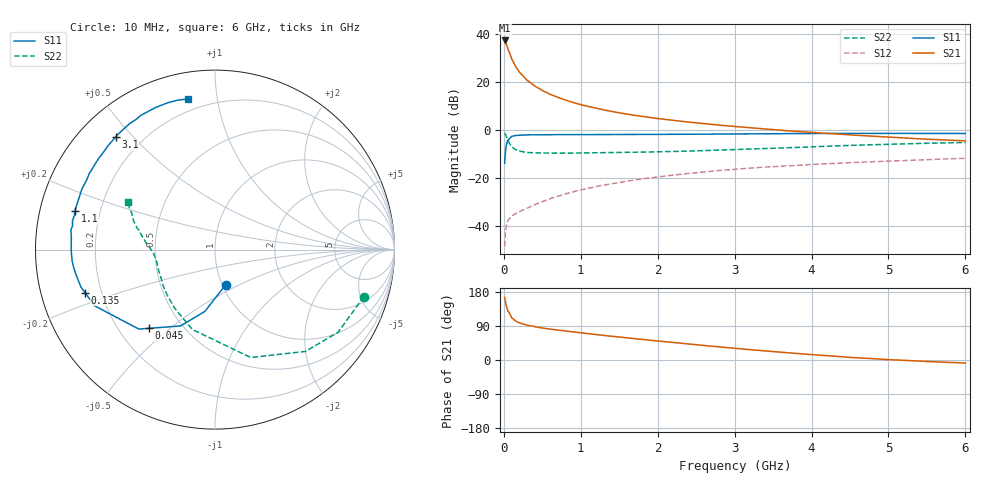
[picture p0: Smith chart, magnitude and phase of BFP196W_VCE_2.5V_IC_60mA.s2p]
! Infineon Technologies  Discrete & RF Semiconductors
! BFP196W
! VCE = 2.5 V,  IC =  60mA
! Common Emitter S-Parameters:  Jan 2016
# GHz  S  MA  R  50
!  f  S11  S21  S12  S22
! GHz  MAG  ANG  MAG  ANG  MAG  ANG  MAG  ANG
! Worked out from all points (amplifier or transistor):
!   210 points, 10 MHz to 6 GHz, reference 50 ohm
!   highest |S21| = 37.4 dB at 10 MHz (marker M1)
!   |S21| within 3 dB of that: start of sweep to 47.01 MHz
!   unconditionally stable (mu >= 1): 525.7 MHz to 3.394 GHz
!   at 185 MHz: K = 0.62, MSG = 29.7 dB, |S12| = -34.3 dB
!   at 1.52 GHz: K = 1.11, MAG = 12.4 dB, |S12| = -21.7 dB
!   at 6 GHz: K = 0.97, MSG = 3.6 dB, |S12| = -11.7 dB
!   S11 on the Smith chart (normalised r, x): 10 MHz: 1.04, -0.42; 45 MHz: 0.33, -0.43; 135 MHz: 0.14, -0.16; 1.1 GHz: 0.11, +0.13; 3.1 GHz: 0.11, +0.45; 6 GHz: 0.13, +0.83
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0.01  0.2037 -72.7  74.48 165.6  0.0038 74.9  0.8701 -17.5
0.02  0.3482 -99.2  70.72 154.9  0.0072 67.3  0.826 -33.9
0.03  0.4668 -114.3  64.27 144.9  0.0096 61.9  0.7586 -48.4
0.045  0.5715 -129.9  53.92 134.3  0.012 51.7  0.6534 -65.1
0.05  0.6135 -133.8  51 129.8  0.0129 49.2  0.6332 -71.7
0.1  0.7404 -155.0  31.02 111.6  0.0161 40.1  0.4626 -105.8
0.135  0.7628 -161.7  24.39 106.1  0.0175 40.5  0.4108 -118.5
0.15  0.7754 -164.4  21.65 102.8  0.0181 40.6  0.3958 -124.8
0.2  0.7864 -169.6  16.44 98.0  0.0198 43.2  0.3675 -136.5
0.24  0.7926 -172.4  13.95 95.3  0.0213 45.4  0.3564 -142.5
0.3  0.7984 -175.5  11.08 92.1  0.0235 48.9  0.3429 -149.8
0.4  0.8009 -179.4  8.375 87.8  0.0278 53.3  0.3369 -156.7
0.5  0.8021 177.2  6.737 84.4  0.0323 56.4  0.3344 -161.5
0.6  0.8036 174.8  5.619 81.5  0.0371 59.1  0.3326 -164.8
0.8  0.8048 170.4  4.242 76.4  0.0468 61.9  0.332 -168.8
1.02  0.8067 166.0  3.341 71.4  0.0575 62.8  0.3348 -171.9
1.1  0.8101 164.6  3.116 69.4  0.0616 62.8  0.3358 -172.7
2.02  0.8185 148.6  1.735 49.8  0.1069 58.9  0.3539 -179.6
3.1  0.8365 131.5  1.156 29.2  0.1572 49.5  0.3981 172.0
4.1  0.8544 117.8  0.879 12.9  0.196 40.7  0.4558 163.8
5.1  0.8589 107.3  0.702 0.1  0.2296 32.3  0.5119 155.8
6  0.853 100.1  0.599 -8.1  0.2592 26.0  0.554 151.2
